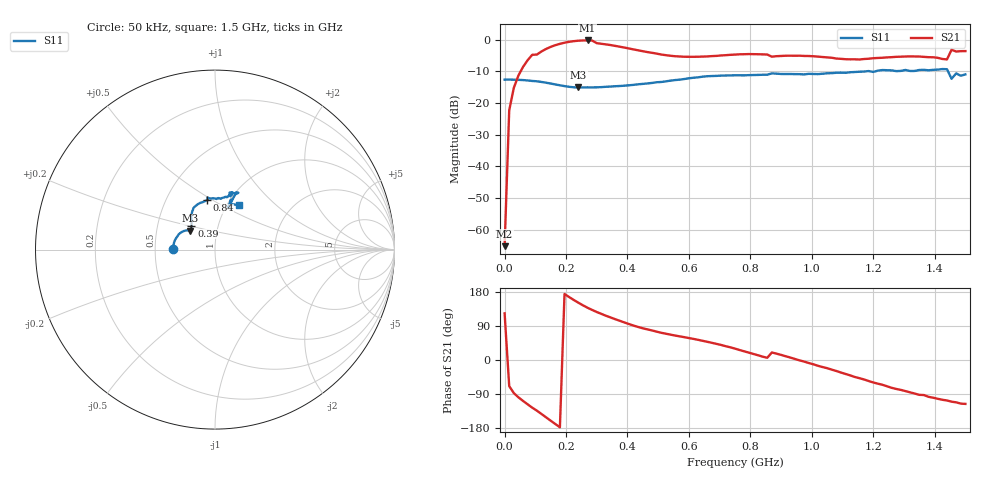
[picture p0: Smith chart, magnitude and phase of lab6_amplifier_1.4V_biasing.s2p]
# HZ S RI R 50
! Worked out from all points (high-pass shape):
!   101 points, 50 kHz to 1.5 GHz, reference 50 ohm
!   highest |S21| = -0.28 dB at 270 MHz (marker M1); lowest = -65.2 dB at 50 kHz (marker M2)
!   |S21| within 3 dB of the highest: 128.9 MHz to 428.9 MHz (299.9 MHz wide, 108 % of centre); 1.454686 GHz to 1.456733 GHz (2.047 MHz wide, 0.141 % of centre)
!   lowest |S11| = -15.1 dB at 240 MHz (marker M3), VSWR 1.43, Z = 37 + j8.03 ohm
!   |S11| at or under -10 dB: start of sweep to 1.179 GHz; 1.189 GHz to 1.208 GHz (19.23 MHz wide, 1.6 % of centre); 1.443 GHz to end of sweep
!   S12 and S22 are empty: the file has one direction only
!   S11 on the Smith chart (normalised r, x): 50 kHz: 0.62, +0.00; 390 MHz: 0.74, +0.21; 840 MHz: 0.79, +0.47; 1.5 GHz: 1.14, +0.61
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50000  -0.2331 0.000925  -0.0003 0.00046  0 0  0 0
1.50495e7  -0.2334 0.0133  0.0273 -0.0716  0 0  0 0
3.0049e7  -0.2311 0.0255  0.00805 -0.1728  0 0  0 0
7.50475e7  -0.2173 0.063  -0.2143 -0.4211  0 0  0 0
1.20046e8  -0.1935 0.0924  -0.5151 -0.3959  0 0  0 0
1.80044e8  -0.1569 0.107  -0.856 -0.0365  0 0  0 0
2.40042e8  -0.1402 0.1053  -0.8413 0.4618  0 0  0 0
2.550415e8  -0.14 0.1063  -0.7864 0.565  0 0  0 0
2.70041e8  -0.1388 0.1085  -0.7183 0.6499  0 0  0 0
3.30039e8  -0.1341 0.1201  -0.3778 0.7495  0 0  0 0
3.90037e8  -0.1312 0.1338  -0.118 0.7386  0 0  0 0
5.10033e8  -0.1312 0.1694  0.1811 0.5521  0 0  0 0
7.50025e8  -0.0816 0.261  0.5017 0.2903  0 0  0 0
8.40022e8  -0.0461 0.2746  0.5775 0.0891  0 0  0 0
8.550215e8  -0.0412 0.2759  0.5775 0.0594  0 0  0 0
8.70021e8  -0.0426 0.2898  0.5053 0.1821  0 0  0 0
1.005016e9  0.024 0.2855  0.5349 -0.1063  0 0  0 0
1.260008e9  0.0808 0.3163  0.1506 -0.506  0 0  0 0
1.440002e9  0.1188 0.3197  -0.1401 -0.4653  0 0  0 0
1.455002e9  0.0717 0.2297  -0.2363 -0.6492  0 0  0 0
1.470001e9  0.089 0.2788  -0.2391 -0.6023  0 0  0 0
1.5e9  0.1353 0.2477  -0.287 -0.5919  0 0  0 0
